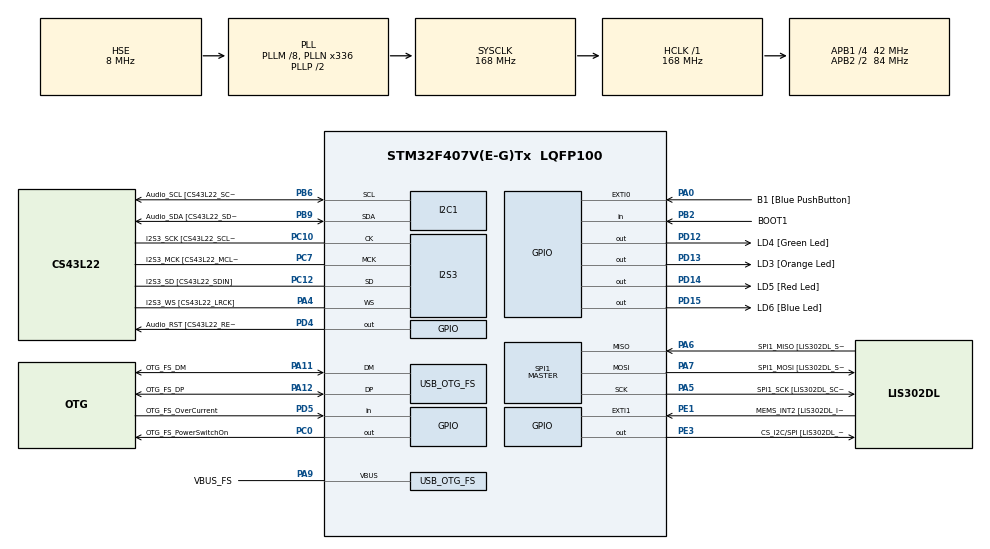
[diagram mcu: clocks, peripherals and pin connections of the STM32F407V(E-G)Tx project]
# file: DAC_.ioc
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Dma.Request0=SPI3_TX
Dma.SPI3_TX.0.Direction=DMA_MEMORY_TO_PERIPH
Dma.SPI3_TX.0.FIFOMode=DMA_FIFOMODE_DISABLE
Dma.SPI3_TX.0.Instance=DMA1_Stream5
Dma.SPI3_TX.0.MemDataAlignment=DMA_MDATAALIGN_BYTE
Dma.SPI3_TX.0.MemInc=DMA_MINC_ENABLE
Dma.SPI3_TX.0.Mode=DMA_CIRCULAR
Dma.SPI3_TX.0.PeriphDataAlignment=DMA_PDATAALIGN_BYTE
Dma.SPI3_TX.0.PeriphInc=DMA_PINC_DISABLE
Dma.SPI3_TX.0.Priority=DMA_PRIORITY_LOW
I2S3.AudioFreq=I2S_AUDIOFREQ_48K
I2S3.AudioFreq-Half_Duplex_Master=I2S_AUDIOFREQ_96K
I2S3.ErrorAudioFreq=-2.34 %
I2S3.ErrorAudioFreq-Half_Duplex_Master=0.8 %
I2S3.FullDuplexMode=I2S_FULLDUPLEXMODE_DISABLE
I2S3.Instance=SPI$Index
I2S3.RealAudioFreq=46.875 KHz
I2S3.RealAudioFreq-Half_Duplex_Master=96.774 KHz
I2S3.VirtualMode=I2S_MODE_MASTER
Mcu.Family=STM32F4
Mcu.Name=STM32F407V(E-G)Tx
Mcu.Package=LQFP100
NVIC.DMA1_Stream5_IRQn=true\:0\:0\:false\:false\:true\:false\:true
NVIC.OTG_FS_IRQn=true\:0\:0\:false\:false\:true\:true\:true
NVIC.PriorityGroup=NVIC_PRIORITYGROUP_0
PA0-WKUP.GPIO_Label=B1 [Blue PushButton]
PA0-WKUP.GPIO_ModeDefaultEXTI=GPIO_MODE_EVT_RISING
PA0-WKUP.GPIO_PuPd=GPIO_NOPULL
PA0-WKUP.Signal=GPXTI0
PA10.GPIO_Label=OTG_FS_ID
PA10.GPIO_Mode=GPIO_MODE_AF_PP
PA10.GPIO_PuPd=GPIO_NOPULL
PA10.GPIO_Speed=GPIO_SPEED_FREQ_LOW
PA10.Signal=USB_OTG_FS_ID
PA11.GPIO_Label=OTG_FS_DM
PA11.GPIO_Mode=GPIO_MODE_AF_PP
PA11.GPIO_PuPd=GPIO_NOPULL
PA11.GPIO_Speed=GPIO_SPEED_FREQ_LOW
PA11.Mode=Host_Only
PA11.Signal=USB_OTG_FS_DM
PA12.GPIO_Label=OTG_FS_DP
PA12.GPIO_Mode=GPIO_MODE_AF_PP
PA12.GPIO_PuPd=GPIO_NOPULL
PA12.GPIO_Speed=GPIO_SPEED_FREQ_LOW
PA12.Mode=Host_Only
PA12.Signal=USB_OTG_FS_DP
PA13.GPIO_Label=SWDIO
PA13.Mode=Serial_Wire
PA13.Signal=SYS_JTMS-SWDIO
PA14.GPIO_Label=SWCLK
PA14.Mode=Serial_Wire
PA14.Signal=SYS_JTCK-SWCLK
PA4.GPIO_Label=I2S3_WS [CS43L22_LRCK]
PA4.GPIO_Mode=GPIO_MODE_AF_PP
PA4.GPIO_PuPd=GPIO_NOPULL
PA4.GPIO_Speed=GPIO_SPEED_FREQ_LOW
PA4.Mode=Half_Duplex_Master
PA4.Signal=I2S3_WS
PA5.GPIO_Label=SPI1_SCK [LIS302DL_SCL/SPC]
PA5.GPIO_Mode=GPIO_MODE_AF_PP
PA5.GPIO_PuPd=GPIO_NOPULL
PA5.GPIO_Speed=GPIO_SPEED_FREQ_LOW
PA5.Mode=Full_Duplex_Master
PA5.Signal=SPI1_SCK
PA6.GPIO_Label=SPI1_MISO [LIS302DL_SDO]
PA6.GPIO_Mode=GPIO_MODE_AF_PP
PA6.GPIO_PuPd=GPIO_NOPULL
PA6.GPIO_Speed=GPIO_SPEED_FREQ_LOW
PA6.Mode=Full_Duplex_Master
PA6.Signal=SPI1_MISO
PA7.GPIO_Label=SPI1_MOSI [LIS302DL_SDA/SDI/SDO]
PA7.GPIO_Mode=GPIO_MODE_AF_PP
PA7.GPIO_PuPd=GPIO_NOPULL
PA7.GPIO_Speed=GPIO_SPEED_FREQ_LOW
PA7.Mode=Full_Duplex_Master
PA7.Signal=SPI1_MOSI
PA9.GPIO_Label=VBUS_FS
PA9.GPIO_Mode=GPIO_MODE_INPUT
PA9.GPIO_PuPd=GPIO_NOPULL
PA9.Mode=Activate_VBUS
PA9.Signal=USB_OTG_FS_VBUS
PB10.GPIO_Label=CLK_IN [MP45DT02_CLK]
PB10.GPIO_Mode=GPIO_MODE_AF_PP
PB10.GPIO_PuPd=GPIO_NOPULL
PB10.GPIO_Speed=GPIO_SPEED_FREQ_LOW
PB10.Signal=I2S2_CK
PB2.GPIO_Label=BOOT1
PB2.GPIO_Mode=GPIO_MODE_INPUT
PB2.GPIO_PuPd=GPIO_NOPULL
PB2.Signal=GPIO_Input
PB3.GPIO_Label=SWO
PB3.Signal=SYS_JTDO-SWO
PB6.GPIO_Label=Audio_SCL [CS43L22_SCL]
PB6.GPIO_Mode=GPIO_MODE_AF_OD
PB6.GPIO_PuPd=GPIO_NOPULL
PB6.GPIO_Speed=GPIO_SPEED_FREQ_LOW
PB6.Mode=I2C
PB6.Signal=I2C1_SCL
PB9.GPIO_Label=Audio_SDA [CS43L22_SDA]
PB9.GPIO_Mode=GPIO_MODE_AF_OD
PB9.GPIO_PuPd=GPIO_NOPULL
PB9.GPIO_Speed=GPIO_SPEED_FREQ_LOW
PB9.Mode=I2C
PB9.Signal=I2C1_SDA
PC0.GPIO_Label=OTG_FS_PowerSwitchOn
PC0.GPIO_PuPd=GPIO_NOPULL
PC0.GPIO_Speed=GPIO_SPEED_FREQ_LOW
PC0.PinState=GPIO_PIN_SET
PC0.Signal=GPIO_Output
PC10.GPIO_Label=I2S3_SCK [CS43L22_SCLK]
PC10.GPIO_Mode=GPIO_MODE_AF_PP
PC10.GPIO_PuPd=GPIO_NOPULL
PC10.GPIO_Speed=GPIO_SPEED_FREQ_LOW
PC10.Mode=Half_Duplex_Master
PC10.Signal=I2S3_CK
PC12.GPIO_Label=I2S3_SD [CS43L22_SDIN]
PC12.GPIO_Mode=GPIO_MODE_AF_PP
PC12.GPIO_PuPd=GPIO_NOPULL
PC12.GPIO_Speed=GPIO_SPEED_FREQ_LOW
PC12.Mode=Half_Duplex_Master
PC12.Signal=I2S3_SD
PC14-OSC32_IN.GPIO_Label=PC14-OSC32_IN
PC14-OSC32_IN.Mode=LSE-External-Oscillator
PC14-OSC32_IN.Signal=RCC_OSC32_IN
PC15-OSC32_OUT.GPIO_Label=PC15-OSC32_OUT
PC15-OSC32_OUT.Mode=LSE-External-Oscillator
PC15-OSC32_OUT.Signal=RCC_OSC32_OUT
PC3.GPIO_Label=PDM_OUT [MP45DT02_DOUT]
PC3.GPIO_Mode=GPIO_MODE_AF_PP
PC3.GPIO_PuPd=GPIO_NOPULL
PC3.GPIO_Speed=GPIO_SPEED_FREQ_LOW
PC3.Signal=I2S2_SD
PC7.GPIO_Label=I2S3_MCK [CS43L22_MCLK]
PC7.GPIO_Mode=GPIO_MODE_AF_PP
PC7.GPIO_PuPd=GPIO_NOPULL
PC7.GPIO_Speed=GPIO_SPEED_FREQ_LOW
PC7.Mode=Master_Clock_Activated
PC7.Signal=I2S3_MCK
PD12.GPIO_Label=LD4 [Green Led]
PD12.GPIO_PuPd=GPIO_NOPULL
PD12.GPIO_Speed=GPIO_SPEED_FREQ_LOW
PD12.Signal=GPIO_Output
PD13.GPIO_Label=LD3 [Orange Led]
PD13.GPIO_PuPd=GPIO_NOPULL
PD13.GPIO_Speed=GPIO_SPEED_FREQ_LOW
PD13.Signal=GPIO_Output
PD14.GPIO_Label=LD5 [Red Led]
PD14.GPIO_PuPd=GPIO_NOPULL
PD14.GPIO_Speed=GPIO_SPEED_FREQ_LOW
PD14.Signal=GPIO_Output
PD15.GPIO_Label=LD6 [Blue Led]
PD15.GPIO_PuPd=GPIO_NOPULL
PD15.GPIO_Speed=GPIO_SPEED_FREQ_LOW
PD15.Signal=GPIO_Output
PD4.GPIO_Label=Audio_RST [CS43L22_RESET]
PD4.GPIO_PuPd=GPIO_NOPULL
PD4.GPIO_Speed=GPIO_SPEED_FREQ_LOW
PD4.Signal=GPIO_Output
PD5.GPIO_Label=OTG_FS_OverCurrent
PD5.GPIO_Mode=GPIO_MODE_INPUT
PD5.GPIO_PuPd=GPIO_NOPULL
PD5.Signal=GPIO_Input
PE1.GPIO_Label=MEMS_INT2 [LIS302DL_INT2]
PE1.GPIO_ModeDefaultEXTI=GPIO_MODE_EVT_RISING
PE1.GPIO_PuPd=GPIO_NOPULL
PE1.Signal=GPXTI1
PE3.GPIO_Label=CS_I2C/SPI [LIS302DL_CS_I2C/SPI]
PE3.GPIO_PuPd=GPIO_NOPULL
PE3.GPIO_Speed=GPIO_SPEED_FREQ_LOW
PE3.Signal=GPIO_Output
PH0-OSC_IN.GPIO_Label=PH0-OSC_IN
PH0-OSC_IN.Mode=HSE-External-Oscillator
PH0-OSC_IN.Signal=RCC_OSC_IN
PH1-OSC_OUT.GPIO_Label=PH1-OSC_OUT
PH1-OSC_OUT.Mode=HSE-External-Oscillator
PH1-OSC_OUT.Signal=RCC_OSC_OUT
ProjectManager.HeapSize=0x200
ProjectManager.StackSize=0x400
ProjectManager.TargetToolchain=STM32CubeIDE
RCC.48MHZClocksFreq_Value=48000000
RCC.AHBFreq_Value=168000000
RCC.APB1CLKDivider=RCC_HCLK_DIV4
RCC.APB1Freq_Value=42000000
RCC.APB1TimFreq_Value=84000000
RCC.APB2CLKDivider=RCC_HCLK_DIV2
RCC.APB2Freq_Value=84000000
RCC.APB2TimFreq_Value=168000000
RCC.CortexFreq_Value=168000000
RCC.HCLKFreq_Value=168000000
RCC.HSE_VALUE=8000000
RCC.HSI_VALUE=16000000
RCC.PLLM=8
RCC.PLLN=336
RCC.PLLQ=7
RCC.SYSCLKFreq_VALUE=168000000
RCC.SYSCLKSource=RCC_SYSCLKSOURCE_PLLCLK
RCC.VCOOutputFreq_Value=336000000
SPI1.BaudRatePrescaler-Full_Duplex_Master=SPI_BAUDRATEPRESCALER_2
SPI1.CalculateBaudRate-Full_Duplex_Master=42.0 MBits/s
SPI1.Direction=SPI_DIRECTION_2LINES
SPI1.Mode=SPI_MODE_MASTER
SPI1.Mode-Full_Duplex_Master=SPI_MODE_MASTER
SPI1.VirtualType=VM_MASTER
USB_HOST.BSP.number=1
USB_HOST.USBH_HandleTypeDef-CDC_FS=hUsbHostFS
USB_HOST.VirtualModeFS=Cdc
USB_HOST0.BSP.STBoard=false
USB_HOST0.BSP.api=Unknown
USB_HOST0.BSP.i2caddr=0
USB_HOST0.BSP.i2creg=0
USB_HOST0.BSP.instance=PC0
USB_HOST0.BSP.ip=GPIO
USB_HOST0.BSP.mode=Output
USB_HOST0.BSP.name=Drive_VBUS_FS
USB_HOST0.BSP.solution=PC0
USB_OTG_FS.VirtualMode=Host_Only
USB_OTG_FS.phy_itface=HCD_PHY_EMBEDDED
VP_USB_HOST_VS_USB_HOST_CDC_FS.Mode=CDC_FS
board=STM32F407G-DISC1

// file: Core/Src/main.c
/* USER CODE BEGIN Header */
/**
  ******************************************************************************
  * @file           : main.c
  * @brief          : Main program body
  ******************************************************************************
  * @attention
  *
  * <h2><center>&copy; Copyright (c) 2026 STMicroelectronics.
  * All rights reserved.</center></h2>
  *
  * This software component is licensed by ST under Ultimate Liberty license
  * SLA0044, the "License"; You may not use this file except in compliance with
  * the License. You may obtain a copy of the License at:
  *                             www.st.com/SLA0044
  *
  ******************************************************************************
  */
/* USER CODE END Header */
#include "main.h"
#include "usb_host.h"

/* USER CODE BEGIN PTD */
#define AUDIO_BUF_SIZE 256
#define A 5000
#define CS43_ADDR (0x4A << 1)

int16_t audio_buf[AUDIO_BUF_SIZE];

/* USER CODE END PTD */

I2C_HandleTypeDef hi2c1;

I2S_HandleTypeDef hi2s3;
DMA_HandleTypeDef hdma_spi3_tx;

SPI_HandleTypeDef hspi1;

void SystemClock_Config(void);
static void MX_GPIO_Init(void);
static void MX_DMA_Init(void);
static void MX_I2C1_Init(void);
static void MX_I2S3_Init(void);
static void MX_SPI1_Init(void);
void MX_USB_HOST_Process(void);

/* USER CODE BEGIN 0 */
void HAL_I2S_TxHalfCpltCallback(I2S_HandleTypeDef *hi2s)
{
    HAL_GPIO_TogglePin(GPIOD, LD4_Pin);
}

void HAL_I2S_TxCpltCallback(I2S_HandleTypeDef *hi2s)
{
    HAL_GPIO_TogglePin(GPIOD, LD3_Pin);
}

int _write(int file, char *ptr, int len)
{
    for(int i = 0; i < len; i++)
    {
        ITM_SendChar((*ptr++));
    }

    return len;
}
void WaveGenerate()
{
	for(int i = 0;i < AUDIO_BUF_SIZE;i++)
	{
		audio_buf[i] = (int16_t)(A * sinf(2*3.14159f*i/AUDIO_BUF_SIZE));
	}

}
void CS43_Write(uint8_t reg,uint8_t val)
{
	HAL_StatusTypeDef ret;
	ret = HAL_I2C_Mem_Write(&hi2c1,
        CS43_ADDR,
        reg,
        I2C_MEMADD_SIZE_8BIT,
        &val,
        1,
        100);
	if(ret != HAL_OK)
	{
		HAL_I2C_DeInit(&hi2c1);
		HAL_Delay(2);
		HAL_I2C_Init(&hi2c1);
		printf("I2C MEM_Write ERROR, recover\r\n");
	}
}

#define AUDIO_RESET_PIN GPIO_PIN_4
#define AUDIO_RESET_PORT GPIOD

void codec_reset(void)
{
    HAL_GPIO_WritePin(AUDIO_RESET_PORT, AUDIO_RESET_PIN, GPIO_PIN_RESET);
    HAL_Delay(10);
    HAL_GPIO_WritePin(AUDIO_RESET_PORT, AUDIO_RESET_PIN, GPIO_PIN_SET);
    HAL_Delay(10);
}

void codec_init()
{
	for(int i=0;i<128;i++)
	{
		HAL_StatusTypeDef ret;
		ret = HAL_I2C_IsDeviceReady(
			  &hi2c1,
			  i << 1,
			  1,
			  100);
		if(ret == HAL_OK)
		{
			printf("FOUND: 0x%X \n", i);
		}
	}

	CS43_Write(0x00, 0x99);
	CS43_Write(0x47, 0x80);
	CS43_Write(0x32, 0x80);
	CS43_Write(0x32, 0x00);
	CS43_Write(0x00, 0x00);

	CS43_Write(0x02, 0x9E);
	CS43_Write(0x04, 0xAF);
	CS43_Write(0x05, 0x81);
	CS43_Write(0x06, 0x07);

	CS43_Write(0x0D, 0x00);
	CS43_Write(0x0E, 0x00);

	CS43_Write(0x20, 0x00);
	CS43_Write(0x21, 0x00);

}
void I2S_Start()
{
	if(HAL_I2S_Transmit_DMA(&hi2s3, (uint16_t *)audio_buf, AUDIO_BUF_SIZE)==HAL_OK)
	{
		printf("I2S DMA Start OK\r\n");
	}
	else
	{
		printf("I2S DMA Start Fail\r\n");
	}
	printf("I2S State=%d \n",HAL_I2S_GetState(&hi2s3));
}
/* USER CODE END 0 */

int main(void)
{

  /* MCU Configuration--------------------------------------------------------*/

  /* Reset of all peripherals, Initializes the Flash interface and the Systick. */
  HAL_Init();

  /* Configure the system clock */
  SystemClock_Config();

  /* Initialize all configured peripherals */
  MX_GPIO_Init();
  MX_DMA_Init();
  MX_I2C1_Init();
  MX_I2S3_Init();
  MX_SPI1_Init();
  MX_USB_HOST_Init();
  /* USER CODE BEGIN 2 */

  printf("Start\n");
  WaveGenerate();

  HAL_I2C_Init(&hi2c1);
  HAL_Delay(5);

  codec_reset();
  HAL_Delay(5);

  codec_init();
  HAL_Delay(5);
  I2S_Start();

  /* USER CODE END 2 */

  /* Infinite loop */
  while (1)
  {
    MX_USB_HOST_Process();

  }
}

void SystemClock_Config(void)
{
  RCC_OscInitTypeDef RCC_OscInitStruct = {0};
  RCC_ClkInitTypeDef RCC_ClkInitStruct = {0};
  RCC_PeriphCLKInitTypeDef PeriphClkInitStruct = {0};

  /** Configure the main internal regulator output voltage
  */
  __HAL_RCC_PWR_CLK_ENABLE();
  __HAL_PWR_VOLTAGESCALING_CONFIG(PWR_REGULATOR_VOLTAGE_SCALE1);
  /** Initializes the RCC Oscillators according to the specified parameters
  * in the RCC_OscInitTypeDef structure.
  */
  RCC_OscInitStruct.OscillatorType = RCC_OSCILLATORTYPE_HSE;
  RCC_OscInitStruct.HSEState = RCC_HSE_ON;
  RCC_OscInitStruct.PLL.PLLState = RCC_PLL_ON;
  RCC_OscInitStruct.PLL.PLLSource = RCC_PLLSOURCE_HSE;
  RCC_OscInitStruct.PLL.PLLM = 8;
  RCC_OscInitStruct.PLL.PLLN = 336;
  RCC_OscInitStruct.PLL.PLLP = RCC_PLLP_DIV2;
  RCC_OscInitStruct.PLL.PLLQ = 7;
  if (HAL_RCC_OscConfig(&RCC_OscInitStruct) != HAL_OK)
  {
    Error_Handler();
  }
  /** Initializes the CPU, AHB and APB buses clocks
  */
  RCC_ClkInitStruct.ClockType = RCC_CLOCKTYPE_HCLK|RCC_CLOCKTYPE_SYSCLK
                              |RCC_CLOCKTYPE_PCLK1|RCC_CLOCKTYPE_PCLK2;
  RCC_ClkInitStruct.SYSCLKSource = RCC_SYSCLKSOURCE_PLLCLK;
  RCC_ClkInitStruct.AHBCLKDivider = RCC_SYSCLK_DIV1;
  RCC_ClkInitStruct.APB1CLKDivider = RCC_HCLK_DIV4;
  RCC_ClkInitStruct.APB2CLKDivider = RCC_HCLK_DIV2;

  if (HAL_RCC_ClockConfig(&RCC_ClkInitStruct, FLASH_LATENCY_5) != HAL_OK)
  {
    Error_Handler();
  }
  PeriphClkInitStruct.PeriphClockSelection = RCC_PERIPHCLK_I2S;
  PeriphClkInitStruct.PLLI2S.PLLI2SN = 192;
  PeriphClkInitStruct.PLLI2S.PLLI2SR = 2;
  if (HAL_RCCEx_PeriphCLKConfig(&PeriphClkInitStruct) != HAL_OK)
  {
    Error_Handler();
  }
}

static void MX_I2C1_Init(void)
{

  hi2c1.Instance = I2C1;
  hi2c1.Init.ClockSpeed = 100000;
  hi2c1.Init.DutyCycle = I2C_DUTYCYCLE_2;
  hi2c1.Init.OwnAddress1 = 0;
  hi2c1.Init.AddressingMode = I2C_ADDRESSINGMODE_7BIT;
  hi2c1.Init.DualAddressMode = I2C_DUALADDRESS_ENABLE;
  hi2c1.Init.OwnAddress2 = 0;
  hi2c1.Init.GeneralCallMode = I2C_GENERALCALL_DISABLE;
  hi2c1.Init.NoStretchMode = I2C_NOSTRETCH_DISABLE;
  if (HAL_I2C_Init(&hi2c1) != HAL_OK)
  {
    Error_Handler();
  }

}

static void MX_I2S3_Init(void)
{

  hi2s3.Instance = SPI3;
  hi2s3.Init.Mode = I2S_MODE_MASTER_TX;
  hi2s3.Init.Standard = I2S_STANDARD_PHILIPS;
  hi2s3.Init.DataFormat = I2S_DATAFORMAT_16B;
  hi2s3.Init.MCLKOutput = I2S_MCLKOUTPUT_ENABLE;
  hi2s3.Init.AudioFreq = I2S_AUDIOFREQ_48K;
  hi2s3.Init.CPOL = I2S_CPOL_LOW;
  hi2s3.Init.ClockSource = I2S_CLOCK_PLL;
  hi2s3.Init.FullDuplexMode = I2S_FULLDUPLEXMODE_DISABLE;
  if (HAL_I2S_Init(&hi2s3) != HAL_OK)
  {
    Error_Handler();
  }

}

static void MX_SPI1_Init(void)
{

  /* SPI1 parameter configuration*/
  hspi1.Instance = SPI1;
  hspi1.Init.Mode = SPI_MODE_MASTER;
  hspi1.Init.Direction = SPI_DIRECTION_2LINES;
  hspi1.Init.DataSize = SPI_DATASIZE_8BIT;
  hspi1.Init.CLKPolarity = SPI_POLARITY_LOW;
  hspi1.Init.CLKPhase = SPI_PHASE_1EDGE;
  hspi1.Init.NSS = SPI_NSS_SOFT;
  hspi1.Init.BaudRatePrescaler = SPI_BAUDRATEPRESCALER_2;
  hspi1.Init.FirstBit = SPI_FIRSTBIT_MSB;
  hspi1.Init.TIMode = SPI_TIMODE_DISABLE;
  hspi1.Init.CRCCalculation = SPI_CRCCALCULATION_DISABLE;
  hspi1.Init.CRCPolynomial = 10;
  if (HAL_SPI_Init(&hspi1) != HAL_OK)
  {
    Error_Handler();
  }

}

static void MX_DMA_Init(void)
{

  /* DMA controller clock enable */
  __HAL_RCC_DMA1_CLK_ENABLE();

  /* DMA interrupt init */
  /* DMA1_Stream5_IRQn interrupt configuration */
  HAL_NVIC_SetPriority(DMA1_Stream5_IRQn, 0, 0);
  HAL_NVIC_EnableIRQ(DMA1_Stream5_IRQn);

}

static void MX_GPIO_Init(void)
{
  GPIO_InitTypeDef GPIO_InitStruct = {0};

  /* GPIO Ports Clock Enable */
  __HAL_RCC_GPIOE_CLK_ENABLE();
  __HAL_RCC_GPIOC_CLK_ENABLE();
  __HAL_RCC_GPIOH_CLK_ENABLE();
  __HAL_RCC_GPIOA_CLK_ENABLE();
  __HAL_RCC_GPIOB_CLK_ENABLE();
  __HAL_RCC_GPIOD_CLK_ENABLE();

  /*Configure GPIO pin Output Level */
  HAL_GPIO_WritePin(CS_I2C_SPI_GPIO_Port, CS_I2C_SPI_Pin, GPIO_PIN_RESET);

  /*Configure GPIO pin Output Level */
  HAL_GPIO_WritePin(OTG_FS_PowerSwitchOn_GPIO_Port, OTG_FS_PowerSwitchOn_Pin, GPIO_PIN_SET);

  /*Configure GPIO pin Output Level */
  HAL_GPIO_WritePin(GPIOD, LD4_Pin|LD3_Pin|LD5_Pin|LD6_Pin
                          |Audio_RST_Pin|GPIO_PIN_5, GPIO_PIN_RESET);

  /*Configure GPIO pin : CS_I2C_SPI_Pin */
  GPIO_InitStruct.Pin = CS_I2C_SPI_Pin;
  GPIO_InitStruct.Mode = GPIO_MODE_OUTPUT_PP;
  GPIO_InitStruct.Pull = GPIO_NOPULL;
  GPIO_InitStruct.Speed = GPIO_SPEED_FREQ_LOW;
  HAL_GPIO_Init(CS_I2C_SPI_GPIO_Port, &GPIO_InitStruct);

  /*Configure GPIO pin : OTG_FS_PowerSwitchOn_Pin */
  GPIO_InitStruct.Pin = OTG_FS_PowerSwitchOn_Pin;
  GPIO_InitStruct.Mode = GPIO_MODE_OUTPUT_PP;
  GPIO_InitStruct.Pull = GPIO_NOPULL;
  GPIO_InitStruct.Speed = GPIO_SPEED_FREQ_LOW;
  HAL_GPIO_Init(OTG_FS_PowerSwitchOn_GPIO_Port, &GPIO_InitStruct);

  /*Configure GPIO pin : PDM_OUT_Pin */
  GPIO_InitStruct.Pin = PDM_OUT_Pin;
  GPIO_InitStruct.Mode = GPIO_MODE_AF_PP;
  GPIO_InitStruct.Pull = GPIO_NOPULL;
  GPIO_InitStruct.Speed = GPIO_SPEED_FREQ_LOW;
  GPIO_InitStruct.Alternate = GPIO_AF5_SPI2;
  HAL_GPIO_Init(PDM_OUT_GPIO_Port, &GPIO_InitStruct);

  /*Configure GPIO pin : B1_Pin */
  GPIO_InitStruct.Pin = B1_Pin;
  GPIO_InitStruct.Mode = GPIO_MODE_EVT_RISING;
  GPIO_InitStruct.Pull = GPIO_NOPULL;
  HAL_GPIO_Init(B1_GPIO_Port, &GPIO_InitStruct);

  /*Configure GPIO pin : BOOT1_Pin */
  GPIO_InitStruct.Pin = BOOT1_Pin;
  GPIO_InitStruct.Mode = GPIO_MODE_INPUT;
  GPIO_InitStruct.Pull = GPIO_NOPULL;
  HAL_GPIO_Init(BOOT1_GPIO_Port, &GPIO_InitStruct);

  /*Configure GPIO pin : CLK_IN_Pin */
  GPIO_InitStruct.Pin = CLK_IN_Pin;
  GPIO_InitStruct.Mode = GPIO_MODE_AF_PP;
  GPIO_InitStruct.Pull = GPIO_NOPULL;
  GPIO_InitStruct.Speed = GPIO_SPEED_FREQ_LOW;
  GPIO_InitStruct.Alternate = GPIO_AF5_SPI2;
  HAL_GPIO_Init(CLK_IN_GPIO_Port, &GPIO_InitStruct);

  /*Configure GPIO pins : LD4_Pin LD3_Pin LD5_Pin LD6_Pin
                           Audio_RST_Pin PD5 */
  GPIO_InitStruct.Pin = LD4_Pin|LD3_Pin|LD5_Pin|LD6_Pin
                          |Audio_RST_Pin|GPIO_PIN_5;
  GPIO_InitStruct.Mode = GPIO_MODE_OUTPUT_PP;
  GPIO_InitStruct.Pull = GPIO_NOPULL;
  GPIO_InitStruct.Speed = GPIO_SPEED_FREQ_LOW;
  HAL_GPIO_Init(GPIOD, &GPIO_InitStruct);

  /*Configure GPIO pin : MEMS_INT2_Pin */
  GPIO_InitStruct.Pin = MEMS_INT2_Pin;
  GPIO_InitStruct.Mode = GPIO_MODE_EVT_RISING;
  GPIO_InitStruct.Pull = GPIO_NOPULL;
  HAL_GPIO_Init(MEMS_INT2_GPIO_Port, &GPIO_InitStruct);

}

void Error_Handler(void)
{
  __disable_irq();
  while (1)
  {
  }
}

/************************ (C) COPYRIGHT STMicroelectronics *****END OF FILE****/
